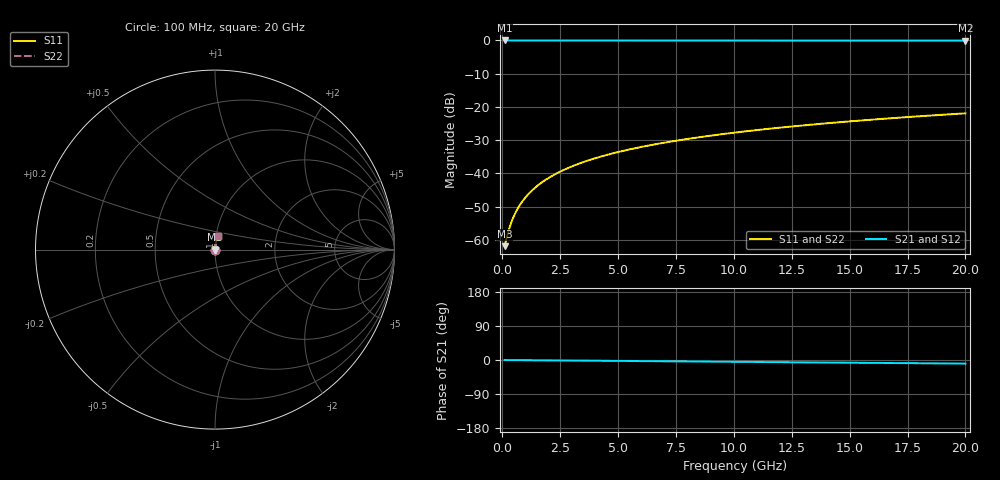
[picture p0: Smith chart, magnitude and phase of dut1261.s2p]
! Touchstone file exported from HFSS 2026.1.0
!  File:  C:/ffzhzh/LocalFiles/Ansys_Project_Files/temp_train_TSV_1261_1783193907_18472.aedt
!  Generated:  03:40:47 AM Jul  5, 2026
!  Design:  TSV
!  Project:  temp_train_TSV_1261_1783193907_18472
! Variables:
!  h_bsmrdl = 2um
!  h_ox = 20um
!  h_rdl = 5um
!  h_sub = 83.78um
!  h_tmrdl = 5um
!  h_tsv = 83.78um
!  h_via = 3um
!  l_bsmrdl = 300um
!  l_sub = 407.72um
!  l_tmrdl = 200um
!  m_sub = 200um
!  pitch = 35.63um
!  r_tsv = 3.86um
!  s_tmrdl = 10um
!  w_bsmrdl = 18um
!  w_sub = 500um
!  w_tmrdl = 12um
!  x_tsv_center1 = 206um
!  x_tsv_center2 = 524um
!  x_tsv_center3 = 736um
!  x_tsv_center4 = 1054um
!  x_tsv_center5 = 1266um
!  x_tsv_center6 = 1584um
# GHz S MA R 50.000000
! Terminal data exported
! Port[1] = TSV1_1_T1
! Port[2] = TSV1_1_T2
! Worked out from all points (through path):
!   200 points, 100 MHz to 20 GHz, reference 50 ohm
!   highest |S21| = -0.01 dB at 100 MHz (marker M1); lowest = -0.1 dB at 20 GHz (marker M2)
!   group delay of S21, straight-line fit = 1.31 ps
!   lowest |S11| = -61.9 dB at 100 MHz (marker M3), VSWR 1.00, Z = 50.1 + j0.0442 ohm
!   |S11| at or under -10 dB: start of sweep to end of sweep
!   |S22| runs from -61.9 to -21.9 dB; largest |S21 - S12| = 4.4e-15
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0.1  0.000803 33.3  0.9993 -0.0  0.9993 -0.0  0.000803 33.3
! Gamma 0 0 0 0
! Port Impedance 50 0 50 0
0.2  0.001112 52.1  0.9993 -0.1  0.9993 -0.1  0.001112 52.1
0.3  0.001483 62.0  0.9993 -0.1  0.9993 -0.1  0.001483 62.0
0.4  0.001876 67.7  0.9993 -0.2  0.9993 -0.2  0.001876 67.7
0.5  0.002278 71.4  0.9993 -0.2  0.9993 -0.2  0.002278 71.4
0.6  0.002687 74.0  0.9993 -0.3  0.9993 -0.3  0.002687 74.0
0.8  0.003513 77.4  0.9992 -0.4  0.9992 -0.4  0.003513 77.4
1.1  0.004764 80.2  0.9992 -0.5  0.9992 -0.5  0.004764 80.2
1.5  0.006442 82.1  0.9992 -0.7  0.9992 -0.7  0.006442 82.1
1.8  0.007701 82.9  0.9991 -0.9  0.9991 -0.9  0.007701 82.9
2.1  0.008958 83.4  0.9991 -1.0  0.9991 -1.0  0.008958 83.4
2.7  0.01146 83.9  0.999 -1.3  0.999 -1.3  0.01146 83.9
3.5  0.01478 84.1  0.9988 -1.7  0.9988 -1.7  0.01478 84.1
4.2  0.01766 84.1  0.9986 -2.0  0.9986 -2.0  0.01766 84.1
5  0.02092 83.9  0.9985 -2.4  0.9985 -2.4  0.02092 83.9
5.9  0.02456 83.7  0.9982 -2.8  0.9982 -2.8  0.02456 83.7
6.8  0.02818 83.5  0.998 -3.3  0.998 -3.3  0.02818 83.5
8.3  0.03417 83.0  0.9976 -4.0  0.9976 -4.0  0.03417 83.0
10.1  0.0413 82.4  0.9971 -4.8  0.9971 -4.8  0.0413 82.4
13.4  0.05431 81.2  0.9962 -6.4  0.9962 -6.4  0.05431 81.2
16.7  0.06721 79.9  0.9952 -7.9  0.9952 -7.9  0.06721 79.9
20  0.08001 78.5  0.994 -9.5  0.994 -9.5  0.08001 78.5
